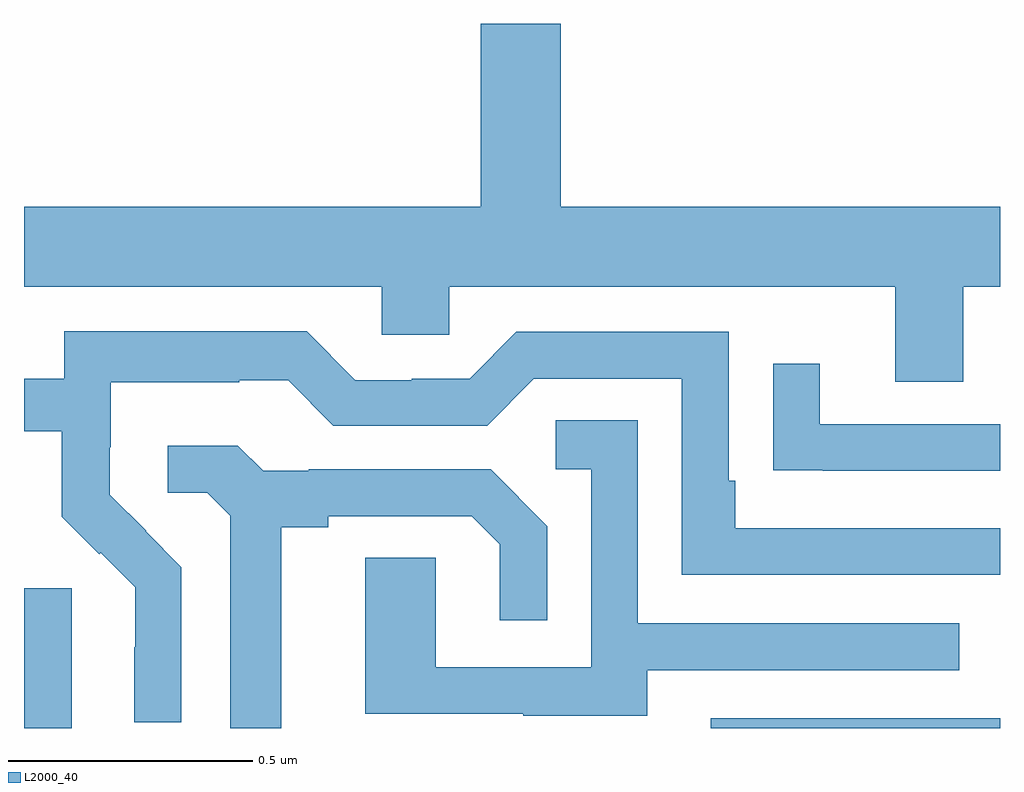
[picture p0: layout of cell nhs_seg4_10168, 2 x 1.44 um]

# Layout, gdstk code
import gdstk
lib = gdstk.Library(unit=1e-6, precision=1e-09)
def R(c, l, rs):  # rectangles x0, y0, x1, y1
    for r in rs: c.add(gdstk.rectangle(r[:2], r[2:], *l))
def P(c, l, *ps):  # polygons
    for p in ps: c.add(gdstk.Polygon(p, *l))
L2000_40 = (2000, 40)

nhs_seg4_10168 = lib.new_cell('nhs_seg4_10168')
R(nhs_seg4_10168, L2000_40, [(236,811.9,236.098,812.187), (237.407,811.9,238,811.92)])
P(nhs_seg4_10168, L2000_40, [(237.925,812.804),(238,812.804),(238,812.968),(237.1,812.968),(237.1,813.343),(236.936,813.343),(236.936,812.968),(236,812.968),(236,812.804),(236.733,812.804),(236.733,812.706),(236.871,812.706),(236.871,812.804),(237.785,812.804),(237.785,812.61),(237.925,812.61)],
  [(236.322,812.23),(236.249,812.303),(236.25,812.304),(236.176,812.378),(236.176,812.475),(236.178,812.475),(236.178,812.609),(236.441,812.609),(236.441,812.613),(236.541,812.613),(236.634,812.52),(236.949,812.52),(237.045,812.616),(237.348,812.616),(237.348,812.214),(238,812.214),(238,812.31),(237.457,812.31),(237.457,812.407),(237.444,812.407),(237.444,812.712),(237.009,812.712),(236.913,812.616),(236.795,812.616),(236.795,812.613),(236.679,812.613),(236.579,812.713),(236.082,812.713),(236.082,812.616),(236,812.616),(236,812.508),(236.077,812.508),(236.077,812.333),(236.154,812.256),(236.157,812.259),(236.228,812.189),(236.228,812.066),(236.226,812.066),(236.226,811.912),(236.322,811.912)],
  [(238,812.523),(237.631,812.523),(237.631,812.647),(237.535,812.647),(237.535,812.428),(237.637,812.428),(237.637,812.427),(238,812.427)],
  [(237.277,812.019),(237.917,812.019),(237.917,812.115),(237.258,812.115),(237.258,812.531),(237.09,812.531),(237.09,812.43),(237.162,812.43),(237.162,812.025),(236.844,812.025),(236.844,812.249),(236.699,812.249),(236.699,811.929),(237.023,811.929),(237.023,811.925),(237.277,811.925)],
  [(236.527,812.312),(236.623,812.312),(236.623,812.334),(236.918,812.334),(236.975,812.277),(236.975,812.121),(237.072,812.121),(237.072,812.314),(236.956,812.43),(236.584,812.43),(236.584,812.427),(236.49,812.427),(236.438,812.479),(236.295,812.479),(236.295,812.382),(236.376,812.382),(236.423,812.335),(236.423,811.9),(236.527,811.9)])

lib.write_gds('nhs_seg4_10168.gds')
